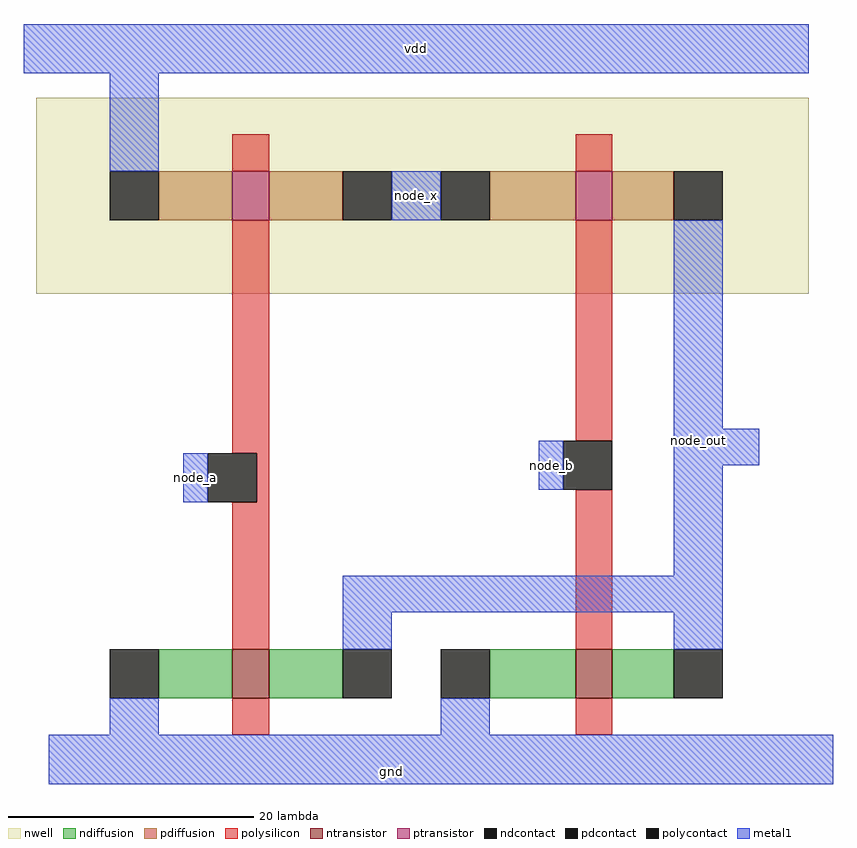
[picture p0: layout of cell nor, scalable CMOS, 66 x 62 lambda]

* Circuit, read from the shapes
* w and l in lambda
.subckt nor gnd node_a node_b node_out node_x vdd
M1 node_out node_a gnd VSUBS nfet w=4 l=3
M2 node_out node_b gnd VSUBS nfet w=4 l=3
M3 node_x node_a vdd n1 pfet w=4 l=3
M4 node_out node_b node_x n1 pfet w=4 l=3
.ends

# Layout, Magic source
magic
tech scmos
<< nwell >>
rect 85 115 148 131
<< ntransistor >>
rect 101 82 104 86
rect 129 82 132 86
<< ptransistor >>
rect 101 121 104 125
rect 129 121 132 125
<< ndiffusion >>
rect 95 82 101 86
rect 104 82 110 86
rect 122 82 129 86
rect 132 82 137 86
<< pdiffusion >>
rect 95 121 101 125
rect 104 121 110 125
rect 122 121 129 125
rect 132 121 137 125
<< ndcontact >>
rect 91 82 95 86
rect 110 82 114 86
rect 118 82 122 86
rect 137 82 141 86
<< pdcontact >>
rect 91 121 95 125
rect 110 121 114 125
rect 118 121 122 125
rect 137 121 141 125
<< polysilicon >>
rect 101 125 104 128
rect 129 125 132 128
rect 101 102 104 121
rect 129 103 132 121
rect 103 98 104 102
rect 101 86 104 98
rect 129 86 132 99
rect 101 79 104 82
rect 129 79 132 82
<< polycontact >>
rect 99 98 103 102
rect 128 99 132 103
<< metal1 >>
rect 84 133 148 137
rect 91 125 95 133
rect 114 121 118 125
rect 137 104 141 121
rect 97 98 99 102
rect 126 99 128 103
rect 137 101 144 104
rect 137 92 141 101
rect 110 89 141 92
rect 110 86 114 89
rect 137 86 141 89
rect 91 79 95 82
rect 118 79 122 82
rect 86 75 150 79
<< labels >>
rlabel metal1 116 135 116 135 5 vdd
rlabel metal1 98 100 98 100 1 node_a
rlabel metal1 127 101 127 101 1 node_b
rlabel metal1 116 123 116 123 1 node_x
rlabel metal1 139 103 139 103 1 node_out
rlabel metal1 114 76 114 76 1 gnd
<< end >>
